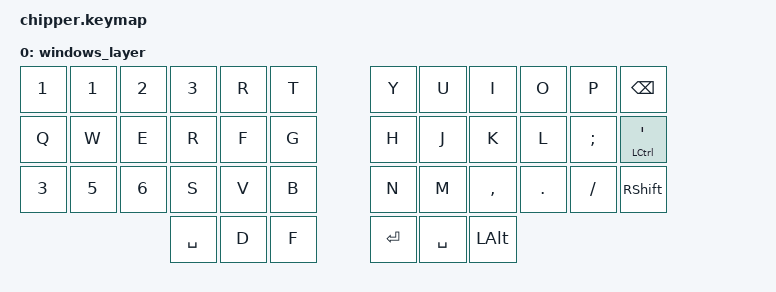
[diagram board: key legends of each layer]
#define ZMK_POINTING_DEFAULT_MOVE_VAL 1700 // default: 600
#define ZMK_POINTING_DEFAULT_SCRL_VAL 30  // default: 10

#include <behaviors.dtsi>
#include <dt-bindings/zmk/keys.h>
#include <dt-bindings/zmk/bt.h>        // bluetooth
#include <dt-bindings/zmk/pointing.h>  // mouse


#define WIN 1  // windows os


/ {
    keymap {
        compatible = "zmk,keymap";

        

        windows_layer {  // WIN 1
            bindings = <
&kp N1       &kp N1  &kp N2  &kp N3      &kp R    &kp T        &kp Y    &kp U    &kp I      &kp O    &kp P     &kp BSPC
&kp Q       &kp W  &kp E  &kp R      &kp F    &kp G        &kp H    &kp J    &kp K      &kp L    &kp SEMI  &mt LCTRL SQT
&kp N3       &kp N5  &kp N6  &kp S      &kp V    &kp B        &kp N    &kp M    &kp COMMA  &kp DOT  &kp FSLH  &kp RSHFT
                            &kp SPACE  &kp D  &kp F    &kp RET  &kp SPACE  &kp LALT
            >;
        };

        

        

        

        
    };
};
